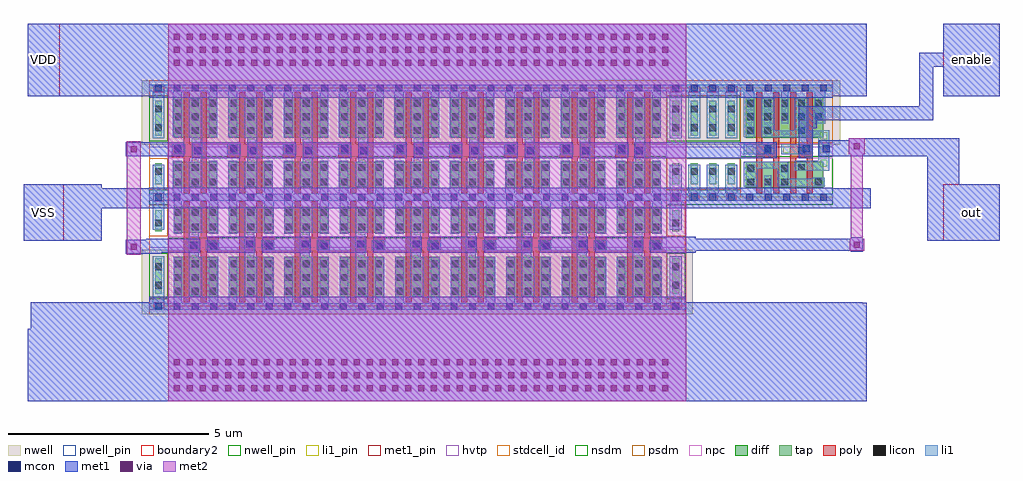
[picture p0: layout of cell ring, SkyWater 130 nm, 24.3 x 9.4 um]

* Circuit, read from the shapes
.subckt ring VDD VSS enable out
XM1 sky130_fd_sc_hd__inv_2_24/A sky130_fd_sc_hd__inv_2_17/A VSS VSS sky130_fd_pr__nfet_01v8 w=0.65 l=0.15 m=2
XM2 sky130_fd_sc_hd__inv_2_23/A sky130_fd_sc_hd__inv_2_24/A VSS VSS sky130_fd_pr__nfet_01v8 w=0.65 l=0.15 m=2
XM3 sky130_fd_sc_hd__inv_2_17/A sky130_fd_sc_hd__inv_2_8/A VSS VSS sky130_fd_pr__nfet_01v8 w=0.65 l=0.15 m=2
XM4 sky130_fd_sc_hd__inv_2_22/A sky130_fd_sc_hd__inv_2_23/A VSS VSS sky130_fd_pr__nfet_01v8 w=0.65 l=0.15 m=2
XM5 sky130_fd_sc_hd__inv_2_8/A sky130_fd_sc_hd__inv_2_9/A VSS VSS sky130_fd_pr__nfet_01v8 w=0.65 l=0.15 m=2
XM6 sky130_fd_sc_hd__inv_2_21/A sky130_fd_sc_hd__inv_2_22/A VSS VSS sky130_fd_pr__nfet_01v8 w=0.65 l=0.15 m=2
XM7 sky130_fd_sc_hd__inv_2_9/A sky130_fd_sc_hd__inv_2_10/A VSS VSS sky130_fd_pr__nfet_01v8 w=0.65 l=0.15 m=2
XM8 sky130_fd_sc_hd__inv_2_20/A sky130_fd_sc_hd__inv_2_21/A VSS VSS sky130_fd_pr__nfet_01v8 w=0.65 l=0.15 m=2
XM9 sky130_fd_sc_hd__inv_2_10/A sky130_fd_sc_hd__inv_2_11/A VSS VSS sky130_fd_pr__nfet_01v8 w=0.65 l=0.15 m=2
XM10 sky130_fd_sc_hd__inv_2_19/A sky130_fd_sc_hd__inv_2_20/A VSS VSS sky130_fd_pr__nfet_01v8 w=0.65 l=0.15 m=2
XM11 sky130_fd_sc_hd__inv_2_11/A sky130_fd_sc_hd__inv_2_12/A VSS VSS sky130_fd_pr__nfet_01v8 w=0.65 l=0.15 m=2
XM12 sky130_fd_sc_hd__inv_2_18/A sky130_fd_sc_hd__inv_2_19/A VSS VSS sky130_fd_pr__nfet_01v8 w=0.65 l=0.15 m=2
XM13 sky130_fd_sc_hd__inv_2_12/A sky130_fd_sc_hd__inv_2_13/A VSS VSS sky130_fd_pr__nfet_01v8 w=0.65 l=0.15 m=2
XM14 sky130_fd_sc_hd__inv_2_25/A sky130_fd_sc_hd__inv_2_18/A VSS VSS sky130_fd_pr__nfet_01v8 w=0.65 l=0.15 m=2
XM15 sky130_fd_sc_hd__inv_2_13/A sky130_fd_sc_hd__inv_2_14/A VSS VSS sky130_fd_pr__nfet_01v8 w=0.65 l=0.15 m=2
XM16 sky130_fd_sc_hd__inv_2_16/A sky130_fd_sc_hd__inv_2_25/A VSS VSS sky130_fd_pr__nfet_01v8 w=0.65 l=0.15 m=2
XM17 sky130_fd_sc_hd__inv_2_14/A out VSS VSS sky130_fd_pr__nfet_01v8 w=0.65 l=0.15 m=2
XM18 sky130_fd_sc_hd__nand2_2_7/B sky130_fd_sc_hd__inv_2_16/A VSS VSS sky130_fd_pr__nfet_01v8 w=0.65 l=0.15 m=2
XM19 VSS sky130_fd_sc_hd__nand2_2_7/B n1 VSS sky130_fd_pr__nfet_01v8 w=0.65 l=0.15 m=2
XM20 out enable n1 VSS sky130_fd_pr__nfet_01v8 w=0.65 l=0.15 m=2
XM21 sky130_fd_sc_hd__inv_2_24/A sky130_fd_sc_hd__inv_2_17/A VDD VDD sky130_fd_pr__pfet_01v8_hvt w=1 l=0.15 m=2
XM22 sky130_fd_sc_hd__inv_2_23/A sky130_fd_sc_hd__inv_2_24/A VDD VDD sky130_fd_pr__pfet_01v8_hvt w=1 l=0.15 m=2
XM23 sky130_fd_sc_hd__inv_2_17/A sky130_fd_sc_hd__inv_2_8/A VDD VDD sky130_fd_pr__pfet_01v8_hvt w=1 l=0.15 m=2
XM24 sky130_fd_sc_hd__inv_2_22/A sky130_fd_sc_hd__inv_2_23/A VDD VDD sky130_fd_pr__pfet_01v8_hvt w=1 l=0.15 m=2
XM25 sky130_fd_sc_hd__inv_2_8/A sky130_fd_sc_hd__inv_2_9/A VDD VDD sky130_fd_pr__pfet_01v8_hvt w=1 l=0.15 m=2
XM26 sky130_fd_sc_hd__inv_2_21/A sky130_fd_sc_hd__inv_2_22/A VDD VDD sky130_fd_pr__pfet_01v8_hvt w=1 l=0.15 m=2
XM27 sky130_fd_sc_hd__inv_2_9/A sky130_fd_sc_hd__inv_2_10/A VDD VDD sky130_fd_pr__pfet_01v8_hvt w=1 l=0.15 m=2
XM28 sky130_fd_sc_hd__inv_2_20/A sky130_fd_sc_hd__inv_2_21/A VDD VDD sky130_fd_pr__pfet_01v8_hvt w=1 l=0.15 m=2
XM29 sky130_fd_sc_hd__inv_2_10/A sky130_fd_sc_hd__inv_2_11/A VDD VDD sky130_fd_pr__pfet_01v8_hvt w=1 l=0.15 m=2
XM30 sky130_fd_sc_hd__inv_2_19/A sky130_fd_sc_hd__inv_2_20/A VDD VDD sky130_fd_pr__pfet_01v8_hvt w=1 l=0.15 m=2
XM31 sky130_fd_sc_hd__inv_2_11/A sky130_fd_sc_hd__inv_2_12/A VDD VDD sky130_fd_pr__pfet_01v8_hvt w=1 l=0.15 m=2
XM32 sky130_fd_sc_hd__inv_2_18/A sky130_fd_sc_hd__inv_2_19/A VDD VDD sky130_fd_pr__pfet_01v8_hvt w=1 l=0.15 m=2
XM33 sky130_fd_sc_hd__inv_2_12/A sky130_fd_sc_hd__inv_2_13/A VDD VDD sky130_fd_pr__pfet_01v8_hvt w=1 l=0.15 m=2
XM34 sky130_fd_sc_hd__inv_2_25/A sky130_fd_sc_hd__inv_2_18/A VDD VDD sky130_fd_pr__pfet_01v8_hvt w=1 l=0.15 m=2
XM35 sky130_fd_sc_hd__inv_2_13/A sky130_fd_sc_hd__inv_2_14/A VDD VDD sky130_fd_pr__pfet_01v8_hvt w=1 l=0.15 m=2
XM36 sky130_fd_sc_hd__inv_2_16/A sky130_fd_sc_hd__inv_2_25/A VDD VDD sky130_fd_pr__pfet_01v8_hvt w=1 l=0.15 m=2
XM37 sky130_fd_sc_hd__inv_2_14/A out VDD VDD sky130_fd_pr__pfet_01v8_hvt w=1 l=0.15 m=2
XM38 sky130_fd_sc_hd__nand2_2_7/B sky130_fd_sc_hd__inv_2_16/A VDD VDD sky130_fd_pr__pfet_01v8_hvt w=1 l=0.15 m=2
XM39 out sky130_fd_sc_hd__nand2_2_7/B VDD VDD sky130_fd_pr__pfet_01v8_hvt w=1 l=0.15 m=2
XM40 out enable VDD VDD sky130_fd_pr__pfet_01v8_hvt w=1 l=0.15 m=2
.ends

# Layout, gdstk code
from math import pi, radians
import gdstk
lib = gdstk.Library(unit=1e-6, precision=1e-09)
def R(c, l, rs):  # rectangles x0, y0, x1, y1
    for r in rs: c.add(gdstk.rectangle(r[:2], r[2:], *l))
def A(c, l, x, y, w, h, nx, ny, dx, dy):  # array of equal rectangles
    R(c, l, [(x+i*dx, y+j*dy, x+i*dx+w, y+j*dy+h) for i in range(nx) for j in range(ny)])
def P(c, l, *ps):  # polygons
    for p in ps: c.add(gdstk.Polygon(p, *l))
nwell_pin = (64, 16)
nwell = (64, 20)
diff = (65, 20)
tap = (65, 44)
poly = (66, 20)
licon = (66, 44)
li1_pin = (67, 16)
li1 = (67, 20)
mcon = (67, 44)
met1_pin = (68, 16)
met1 = (68, 20)
via = (68, 44)
met2 = (69, 20)
hvtp = (78, 44)
stdcell_id = (81, 4)
nsdm = (93, 44)
psdm = (94, 20)
npc = (95, 20)
pwell_pin = (122, 16)
boundary2 = (236, 0)

sky130_fd_sc_hd__tapvpwr = lib.new_cell('sky130_fd_sc_hd__tapvpwrvgnd_1')
R(sky130_fd_sc_hd__tapvpwr, nwell, [(-0.19,1.305,0.65,2.91)])
R(sky130_fd_sc_hd__tapvpwr, tap, [(0.145,0.32,0.315,0.845), (0.145,1.525,0.315,2.4)])
R(sky130_fd_sc_hd__tapvpwr, licon, [(0.145,0.555,0.315,0.725), (0.145,1.645,0.315,1.815), (0.145,2.11,0.315,2.28)])
R(sky130_fd_sc_hd__tapvpwr, li1, [(0,-0.085,0.46,0.085), (0.085,0,0.375,0.81), (0.085,1.47,0.375,2.72), (0,2.635,0.46,2.805)])
R(sky130_fd_sc_hd__tapvpwr, mcon, [(0.145,-0.085,0.315,0.085), (0.145,2.635,0.315,2.805)])
R(sky130_fd_sc_hd__tapvpwr, met1_pin, [(0.105,-0.09,0.36,0.1), (0.11,2.62,0.375,2.765)])
R(sky130_fd_sc_hd__tapvpwr, met1, [(0,-0.24,0.46,0.24), (0,2.48,0.46,2.96)])
R(sky130_fd_sc_hd__tapvpwr, hvtp, [(0,1.25,0.46,2.72)])
R(sky130_fd_sc_hd__tapvpwr, stdcell_id, [(0,0,0.46,2.72)])
R(sky130_fd_sc_hd__tapvpwr, nsdm, [(0,-0.19,0.46,0.19), (0,1.395,0.46,2.53)])
R(sky130_fd_sc_hd__tapvpwr, psdm, [(0,0.19,0.46,0.975), (0,2.53,0.46,2.91)])
sky130_fd_sc_hd__tapvpwr.add(gdstk.Label('VPWR', (0.23,2.72), layer=68, texttype=5))
sky130_fd_sc_hd__tapvpwr.add(gdstk.Label('VGND', (0.23,0), layer=68, texttype=5))
sky130_fd_sc_hd__tapvpwr.add(gdstk.Label('tapvpwrvgnd_1', (0,0), layer=83, texttype=44))

sky130_fd_sc_hd__nand2_2 = lib.new_cell('sky130_fd_sc_hd__nand2_2')
R(sky130_fd_sc_hd__nand2_2, nwell_pin, [(0.15,2.635,0.32,2.805)])
R(sky130_fd_sc_hd__nand2_2, nwell, [(-0.19,1.305,2.49,2.91)])
R(sky130_fd_sc_hd__nand2_2, diff, [(0.135,0.235,2.065,0.885), (0.135,1.485,2.065,2.485)])
P(sky130_fd_sc_hd__nand2_2, poly, [(1.805,2.615),(1.655,2.615),(1.655,1.325),(1.385,1.325),(1.385,2.615),(1.235,2.615),(1.235,0.105),(1.385,0.105),(1.385,0.995),(1.655,0.995),(1.655,0.105),(1.805,0.105)],
  [(0.965,2.615),(0.815,2.615),(0.815,1.325),(0.545,1.325),(0.545,2.615),(0.395,2.615),(0.395,0.105),(0.545,0.105),(0.545,0.995),(0.815,0.995),(0.815,0.105),(0.965,0.105)])
A(sky130_fd_sc_hd__nand2_2, licon, 0.175, 0.295, 0.17, 0.17, 3, 1, 0.42, 0)
A(sky130_fd_sc_hd__nand2_2, licon, 0.175, 1.915, 0.17, 0.17, 5, 2, 0.42, 0.34)
R(sky130_fd_sc_hd__nand2_2, licon, [(1.855,0.295,2.025,0.465), (0.175,0.635,0.345,0.805), (1.015,0.635,1.185,0.805), (1.435,0.655,1.605,0.825), (0.595,1.075,0.765,1.245), (1.435,1.075,1.605,1.245), (0.175,1.575,0.345,1.745), (0.595,1.575,0.765,1.745), (1.435,1.575,1.605,1.745)])
A(sky130_fd_sc_hd__nand2_2, li1_pin, 0.15, 1.105, 0.17, 0.17, 5, 1, 0.46, 0)
R(sky130_fd_sc_hd__nand2_2, li1_pin, [(1.99,0.765,2.16,0.935), (1.99,1.445,2.16,1.615)])
R(sky130_fd_sc_hd__nand2_2, li1, [(0.085,1.075,0.845,1.325), (1.015,1.075,1.765,1.325)])
P(sky130_fd_sc_hd__nand2_2, li1, [(2.3,0.085),(0.765,0.085),(0.765,0.545),(0.595,0.545),(0.595,0.085),(0,0.085),(0,-0.085),(2.3,-0.085)],
  [(2.3,2.805),(0,2.805),(0,2.635),(0.085,2.635),(0.085,1.495),(0.345,1.495),(0.345,2.635),(1.015,2.635),(1.015,1.835),(1.185,1.835),(1.185,2.635),(1.855,2.635),(1.855,1.835),(2.11,1.835),(2.11,2.635),(2.3,2.635)],
  [(2.105,0.485),(1.775,0.485),(1.775,0.465),(1.185,0.465),(1.185,0.885),(0.085,0.885),(0.085,0.255),(0.425,0.255),(0.425,0.715),(0.935,0.715),(0.935,0.255),(2.105,0.255)],
  [(2.215,1.665),(1.685,1.665),(1.685,2.465),(1.355,2.465),(1.355,1.665),(0.845,1.665),(0.845,2.465),(0.515,2.465),(0.515,1.495),(1.935,1.495),(1.935,0.905),(1.355,0.905),(1.355,0.655),(2.215,0.655)])
A(sky130_fd_sc_hd__nand2_2, mcon, 0.145, -0.085, 0.17, 0.17, 5, 2, 0.46, 2.72)
R(sky130_fd_sc_hd__nand2_2, met1_pin, [(0.15,-0.085,0.32,0.085), (0.15,2.635,0.32,2.805)])
R(sky130_fd_sc_hd__nand2_2, hvtp, [(0,1.25,2.3,2.72)])
R(sky130_fd_sc_hd__nand2_2, stdcell_id, [(0,0,2.3,2.72)])
R(sky130_fd_sc_hd__nand2_2, nsdm, [(0,-0.19,2.3,1.015)])
R(sky130_fd_sc_hd__nand2_2, psdm, [(0,1.355,2.3,2.91)])
R(sky130_fd_sc_hd__nand2_2, npc, [(0,0.975,2.3,1.345)])
R(sky130_fd_sc_hd__nand2_2, pwell_pin, [(0.15,-0.085,0.32,0.085)])
R(sky130_fd_sc_hd__nand2_2, boundary2, [(0,0,2.3,2.72)])
sky130_fd_sc_hd__nand2_2.add(gdstk.FlexPath([(0,2.72),(2.3,2.72)], 0.48, ends="flush", simple_path=True, layer=68, datatype=20))  # met1
sky130_fd_sc_hd__nand2_2.add(gdstk.FlexPath([(0,0),(2.3,0)], 0.48, ends="flush", simple_path=True, layer=68, datatype=20))  # met1
sky130_fd_sc_hd__nand2_2.add(gdstk.Label('Y', (2.075,0.85), layer=67, texttype=5))
sky130_fd_sc_hd__nand2_2.add(gdstk.Label('Y', (2.075,1.19), layer=67, texttype=5))
sky130_fd_sc_hd__nand2_2.add(gdstk.Label('Y', (2.075,1.53), layer=67, texttype=5))
sky130_fd_sc_hd__nand2_2.add(gdstk.Label('A', (1.615,1.19), layer=67, texttype=5))
sky130_fd_sc_hd__nand2_2.add(gdstk.Label('B', (0.695,1.19), layer=67, texttype=5))
sky130_fd_sc_hd__nand2_2.add(gdstk.Label('VPB', (0.23,2.72), layer=64, texttype=5))
sky130_fd_sc_hd__nand2_2.add(gdstk.Label('VNB', (0.23,0), layer=64, texttype=59))
sky130_fd_sc_hd__nand2_2.add(gdstk.Label('VGND', (0.23,0), layer=68, texttype=5))
sky130_fd_sc_hd__nand2_2.add(gdstk.Label('VPWR', (0.23,2.72), layer=68, texttype=5))
sky130_fd_sc_hd__nand2_2.add(gdstk.Label('nand2_2', (0,0), layer=83, texttype=44))

sky130_fd_sc_hd__inv_2 = lib.new_cell('sky130_fd_sc_hd__inv_2')
R(sky130_fd_sc_hd__inv_2, nwell_pin, [(0.145,2.635,0.315,2.805)])
R(sky130_fd_sc_hd__inv_2, nwell, [(-0.19,1.305,1.57,2.91)])
R(sky130_fd_sc_hd__inv_2, diff, [(0.145,0.235,1.235,0.885), (0.145,1.485,1.235,2.485)])
P(sky130_fd_sc_hd__inv_2, poly, [(0.975,2.615),(0.825,2.615),(0.825,1.325),(0.555,1.325),(0.555,2.615),(0.405,2.615),(0.405,1.325),(0.105,1.325),(0.105,0.995),(0.405,0.995),(0.405,0.105),(0.555,0.105),(0.555,0.995),(0.825,0.995),(0.825,0.105),(0.975,0.105)])
A(sky130_fd_sc_hd__inv_2, licon, 0.185, 0.295, 0.17, 0.17, 3, 2, 0.42, 0.36)
A(sky130_fd_sc_hd__inv_2, licon, 0.185, 1.575, 0.17, 0.17, 3, 3, 0.42, 0.34)
R(sky130_fd_sc_hd__inv_2, licon, [(0.185,1.075,0.355,1.245)])
A(sky130_fd_sc_hd__inv_2, li1_pin, 0.605, 0.765, 0.17, 0.17, 1, 3, 0, 0.34)
R(sky130_fd_sc_hd__inv_2, li1_pin, [(0.145,1.105,0.315,1.275)])
R(sky130_fd_sc_hd__inv_2, li1, [(0.105,1.075,0.435,1.325)])
P(sky130_fd_sc_hd__inv_2, li1, [(1.38,2.805),(0,2.805),(0,2.635),(0.125,2.635),(0.125,1.495),(0.355,1.495),(0.355,2.635),(1.025,2.635),(1.025,1.495),(1.235,1.495),(1.235,2.635),(1.38,2.635)],
  [(0.855,2.465),(0.525,2.465),(0.525,1.485),(0.605,1.485),(0.605,0.885),(0.525,0.885),(0.525,0.255),(0.855,0.255)],
  [(1.38,0.085),(1.235,0.085),(1.235,0.905),(1.025,0.905),(1.025,0.085),(0.355,0.085),(0.355,0.905),(0.125,0.905),(0.125,0.085),(0,0.085),(0,-0.085),(1.38,-0.085)])
A(sky130_fd_sc_hd__inv_2, mcon, 0.145, -0.085, 0.17, 0.17, 3, 2, 0.46, 2.72)
R(sky130_fd_sc_hd__inv_2, met1_pin, [(0.145,-0.085,0.315,0.085), (0.145,2.635,0.315,2.805)])
R(sky130_fd_sc_hd__inv_2, hvtp, [(0,1.25,1.38,2.72)])
R(sky130_fd_sc_hd__inv_2, stdcell_id, [(0,0,1.38,2.72)])
R(sky130_fd_sc_hd__inv_2, nsdm, [(0,-0.19,1.38,1.015)])
R(sky130_fd_sc_hd__inv_2, psdm, [(0,1.355,1.38,2.91)])
R(sky130_fd_sc_hd__inv_2, npc, [(0,0.975,1.38,1.345)])
R(sky130_fd_sc_hd__inv_2, pwell_pin, [(0.145,-0.085,0.315,0.085)])
R(sky130_fd_sc_hd__inv_2, boundary2, [(0,0,1.38,2.72)])
sky130_fd_sc_hd__inv_2.add(gdstk.FlexPath([(0,2.72),(1.38,2.72)], 0.48, ends="flush", simple_path=True, layer=68, datatype=20))  # met1
sky130_fd_sc_hd__inv_2.add(gdstk.FlexPath([(0,0),(1.38,0)], 0.48, ends="flush", simple_path=True, layer=68, datatype=20))  # met1
sky130_fd_sc_hd__inv_2.add(gdstk.Label('A', (0.23,1.19), layer=67, texttype=5))
sky130_fd_sc_hd__inv_2.add(gdstk.Label('Y', (0.69,0.85), layer=67, texttype=5))
sky130_fd_sc_hd__inv_2.add(gdstk.Label('Y', (0.69,1.53), layer=67, texttype=5))
sky130_fd_sc_hd__inv_2.add(gdstk.Label('Y', (0.69,1.19), layer=67, texttype=5))
sky130_fd_sc_hd__inv_2.add(gdstk.Label('VPB', (0.23,2.72), layer=64, texttype=5))
sky130_fd_sc_hd__inv_2.add(gdstk.Label('VNB', (0.23,0), layer=64, texttype=59))
sky130_fd_sc_hd__inv_2.add(gdstk.Label('VPWR', (0.23,2.72), layer=68, texttype=5))
sky130_fd_sc_hd__inv_2.add(gdstk.Label('VGND', (0.23,0), layer=68, texttype=5))
sky130_fd_sc_hd__inv_2.add(gdstk.Label('inv_2', (0,0), layer=83, texttype=44))

ring = lib.new_cell('ring')
R(ring, nwell, [(13.2,0.68,14.72,1.8)])
A(ring, li1, 3.55, -2.42, 0.17, 0.17, 9, 1, 1.38, 0)
A(ring, li1, 4.45, -2.37, 0.17, 0.17, 8, 1, 1.38, 0)
A(ring, li1, 3.15, -0.05, 0.17, 0.17, 8, 1, 1.38, 0)
A(ring, li1, 4.05, 0, 0.17, 0.17, 8, 1, 1.38, 0)
R(ring, li1, [(3.05,-2.4,3.22,-2.23), (14.15,-0.05,14.32,0.12), (2.65,0,2.82,0.17), (17.35,0,17.52,0.17), (18.3,0,18.47,0.17), (18.8,0,18.97,0.17)])
A(ring, mcon, 3.55, -2.42, 0.17, 0.17, 9, 1, 1.38, 0)
A(ring, mcon, 4.45, -2.37, 0.17, 0.17, 8, 1, 1.38, 0)
A(ring, mcon, 3.15, -0.05, 0.17, 0.17, 8, 1, 1.38, 0)
A(ring, mcon, 4.05, 0, 0.17, 0.17, 8, 1, 1.38, 0)
R(ring, mcon, [(3.05,-2.4,3.22,-2.23), (14.15,-0.05,14.32,0.12), (2.65,0,2.82,0.17), (17.35,0,17.52,0.17), (18.3,0,18.47,0.17), (18.8,0,18.97,0.17)])
R(ring, met1_pin, [(-1.1,-2.2,-0.1,-0.8), (21.8,-2.2,23.2,-0.8), (-1,1.4,-0.2,3.2), (21.8,1.4,23.2,3.2)])
A(ring, met1, 3.47, -2.5, 1.2, 0.4, 8, 1, 1.38, 0)
A(ring, met1, 3.1, -0.15, 1.2, 0.4, 8, 1, 1.38, 0)
R(ring, met1, [(-1,-6.2,19.9,-4.4), (-0.92,-4.4,19.9,-3.75), (-0.92,-3.75,19.78,-3.74), (1.445,-2.525,2.325,-2.5), (1.445,-2.5,3.3,-2.175), (14.51,-2.5,15.64,-2.45), (19.5,-2.48,19.8,-2.45), (14.51,-2.45,19.8,-2.15), (-1.1,-2.2,0.85,-1.4), (21.4,-2.2,23.2,-0.8), (1.95,-2.175,3.3,-2.15), (14.51,-2.15,15.64,-2.1), (19.5,-2.15,19.8,-2.12), (-1.1,-1.4,20,-0.9), (-1.1,-0.9,0.85,-0.8), (21.4,-0.8,22.2,-0.1), (14.1,-0.15,17.65,0.25), (18.2,-0.15,18.55,0.6), (1.445,-0.1,2.9,0.25), (18.7,-0.1,22.2,0.3), (19.45,0.3,22.2,0.35), (18.2,0.6,18.65,0.8), (18.2,0.8,21.55,1.15), (21.2,1.15,21.55,2.125), (-1,1.4,19.9,3.2), (21.8,1.4,23.2,2.125), (21.2,2.125,23.2,2.475), (21.8,2.475,23.2,3.2)])
A(ring, via, 2.645, -5.945, 0.15, 0.15, 39, 3, 0.32, 0.32)
A(ring, via, 2.645, 2.155, 0.15, 0.15, 39, 3, 0.32, 0.32)
R(ring, via, [(1.575,-2.425,1.725,-2.275), (19.575,-2.375,19.725,-2.225), (1.575,0,1.725,0.15), (19.575,0.075,19.725,0.225)])
R(ring, met2, [(2.5,-6.2,15.4,3.2), (1.475,-2.555,1.825,0.28), (19.47,-2.45,19.83,-2.15), (19.5,-2.15,19.8,-0.05), (19.45,-0.05,19.85,0.35)])
A(ring, nsdm, 3.85, -2.13, 0.04, 0.9, 8, 2, 1.38, 1.12)
R(ring, nsdm, [(2.51,-1.23,14.89,-1.01)])
A(ring, psdm, 3.85, -3.73, 0.04, 1.25, 8, 2, 1.38, 3.97)
ring.add(gdstk.Reference(sky130_fd_sc_hd__tapvpwr, (15.37,-1.12)))
ring.add(gdstk.Reference(sky130_fd_sc_hd__tapvpwr, (16.29,-1.12)))
ring.add(gdstk.Reference(sky130_fd_sc_hd__tapvpwr, (15.83,-1.12)))
ring.add(gdstk.Reference(sky130_fd_sc_hd__tapvpwr, (14.91,-1.12)))
ring.add(gdstk.Reference(sky130_fd_sc_hd__tapvpwr, (14.91,-1.12), x_reflection=True))
ring.add(gdstk.Reference(sky130_fd_sc_hd__tapvpwr, (2.03,-1.12)))
ring.add(gdstk.Reference(sky130_fd_sc_hd__tapvpwr, (2.03,-1.12), x_reflection=True))
ring.add(gdstk.Reference(sky130_fd_sc_hd__nand2_2, (16.75,-1.12)))
ring.add(gdstk.Reference(sky130_fd_sc_hd__inv_2, (5.25,-1.12), rotation=pi))
ring.add(gdstk.Reference(sky130_fd_sc_hd__inv_2, (6.63,-1.12), rotation=pi))
ring.add(gdstk.Reference(sky130_fd_sc_hd__inv_2, (8.01,-1.12), rotation=pi))
ring.add(gdstk.Reference(sky130_fd_sc_hd__inv_2, (9.39,-1.12), rotation=pi))
ring.add(gdstk.Reference(sky130_fd_sc_hd__inv_2, (10.77,-1.12), rotation=pi))
ring.add(gdstk.Reference(sky130_fd_sc_hd__inv_2, (12.15,-1.12), rotation=pi))
ring.add(gdstk.Reference(sky130_fd_sc_hd__inv_2, (13.53,-1.12), rotation=pi))
ring.add(gdstk.Reference(sky130_fd_sc_hd__inv_2, (14.91,-1.12), rotation=pi))
ring.add(gdstk.Reference(sky130_fd_sc_hd__inv_2, (13.53,-1.12)))
ring.add(gdstk.Reference(sky130_fd_sc_hd__inv_2, (3.87,-1.12), rotation=pi))
ring.add(gdstk.Reference(sky130_fd_sc_hd__inv_2, (10.77,-1.12)))
ring.add(gdstk.Reference(sky130_fd_sc_hd__inv_2, (9.39,-1.12)))
ring.add(gdstk.Reference(sky130_fd_sc_hd__inv_2, (8.01,-1.12)))
ring.add(gdstk.Reference(sky130_fd_sc_hd__inv_2, (6.63,-1.12)))
ring.add(gdstk.Reference(sky130_fd_sc_hd__inv_2, (5.25,-1.12)))
ring.add(gdstk.Reference(sky130_fd_sc_hd__inv_2, (3.87,-1.12)))
ring.add(gdstk.Reference(sky130_fd_sc_hd__inv_2, (2.49,-1.12)))
ring.add(gdstk.Reference(sky130_fd_sc_hd__inv_2, (12.15,-1.12)))
ring.add(gdstk.Label('VSS', (-0.6,-1.5), layer=68, texttype=5))
ring.add(gdstk.Label('VDD', (-0.6,2.3), layer=68, texttype=5))
ring.add(gdstk.Label('enable', (22.5,2.3), layer=68, texttype=5))
ring.add(gdstk.Label('out', (22.5,-1.5), layer=68, texttype=5))

lib.write_gds('ring.gds')
